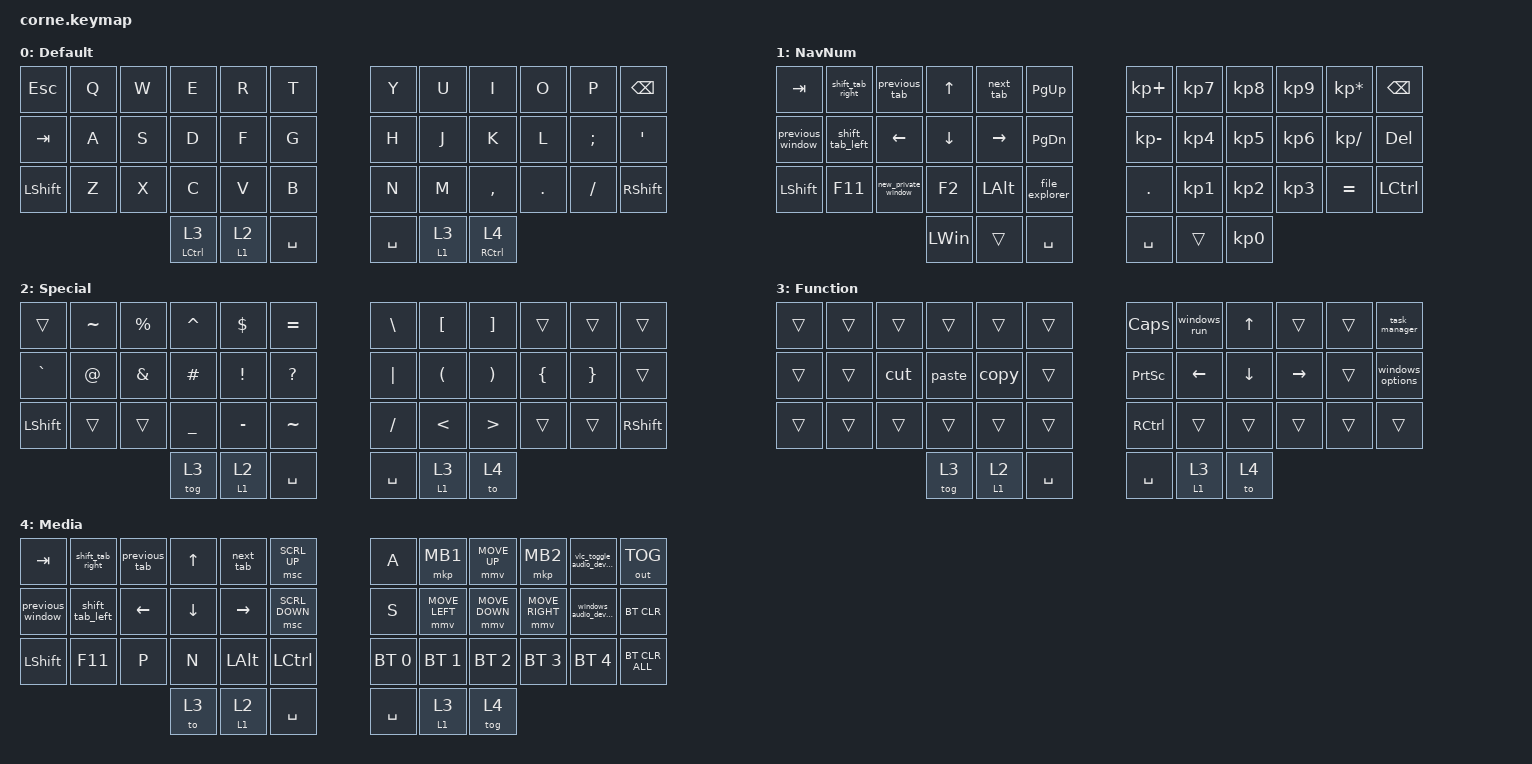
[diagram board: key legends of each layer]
/*
 * Copyright (c) 2020 The ZMK Contributors
 *
 * SPDX-License-Identifier: MIT
 */

#include <behaviors.dtsi>
#include <dt-bindings/zmk/bt.h>
#include <dt-bindings/zmk/keys.h>
#include <dt-bindings/zmk/outputs.h>
#include <dt-bindings/zmk/pointing.h>

/ {
    macros {
        next_tab: next_tab {
            compatible = "zmk,behavior-macro";
            #binding-cells = <0>;
            bindings =
                <&macro_press>,
                <&kp LEFT_CONTROL>,
                <&macro_tap>,
                <&kp TAB>,
                <&macro_release>,
                <&kp LEFT_CONTROL>;

            label = "NEXT_TAB";
        };

        previous_tab: previous_tab {
            compatible = "zmk,behavior-macro";
            #binding-cells = <0>;
            bindings =
                <&macro_press>,
                <&kp LEFT_CONTROL &kp LEFT_SHIFT>,
                <&macro_tap>,
                <&kp TAB>,
                <&macro_release>,
                <&kp LEFT_CONTROL &kp LEFT_SHIFT>;

            label = "PREVIOUS_TAB";
        };

        next_window: next_window {
            compatible = "zmk,behavior-macro";
            #binding-cells = <0>;
            bindings =
                <&macro_press>,
                <&kp LEFT_ALT>,
                <&macro_tap>,
                <&kp TAB>,
                <&macro_release>,
                <&kp LEFT_ALT>;

            label = "NEXT_WINDOW";
        };

        previous_window: previous_window {
            compatible = "zmk,behavior-macro";
            #binding-cells = <0>;
            bindings =
                <&macro_press>,
                <&kp LEFT_SHIFT>,
                <&macro_tap>,
                <&kp TAB>,
                <&macro_release>,
                <&kp LEFT_SHIFT>;

            label = "PREVIOUS_WINDOW";
        };

        windows_options: windows_options {
            compatible = "zmk,behavior-macro";
            #binding-cells = <0>;
            bindings =
                <&macro_press>,
                <&kp LEFT_WIN>,
                <&macro_tap>,
                <&kp X>,
                <&macro_release>,
                <&kp LEFT_WIN>;

            label = "WINDOWS_OPTIONS";
        };

        task_manager: task_manager {
            compatible = "zmk,behavior-macro";
            #binding-cells = <0>;
            bindings =
                <&macro_press>,
                <&kp LEFT_CONTROL &kp LEFT_ALT>,
                <&macro_press>,
                <&kp DEL>,
                <&macro_release>,
                <&kp LEFT_CONTROL &kp LEFT_ALT>;

            label = "TASK_MANAGER";
        };

        shift_tab_right: shift_tab_right {
            compatible = "zmk,behavior-macro";
            #binding-cells = <0>;
            bindings =
                <&macro_press>,
                <&kp LEFT_CONTROL &kp LEFT_SHIFT>,
                <&macro_tap>,
                <&kp PAGE_DOWN>,
                <&macro_release>,
                <&kp LEFT_CONTROL &kp LEFT_SHIFT>;

            label = "SHIFT_TAB_RIGHT";
        };

        shift_tab_left: shift_tab_left {
            compatible = "zmk,behavior-macro";
            #binding-cells = <0>;
            bindings =
                <&macro_press>,
                <&kp LEFT_CONTROL &kp LEFT_SHIFT>,
                <&macro_tap>,
                <&kp PAGE_UP>,
                <&macro_release>,
                <&kp LEFT_CONTROL &kp LEFT_SHIFT>;

            label = "SHIFT_TAB_LEFT";
        };

        vlc_playlist: vlc_playlist {
            compatible = "zmk,behavior-macro";
            #binding-cells = <0>;
            bindings =
                <&macro_press>,
                <&kp LEFT_CONTROL>,
                <&macro_tap>,
                <&kp L>,
                <&macro_release>,
                <&kp LEFT_CONTROL>;

            label = "VLC_PLAYLIST";
        };

        vlc_toggle_audio_device: vlc_toggle_audio_device {
            compatible = "zmk,behavior-macro";
            #binding-cells = <0>;
            bindings =
                <&macro_press>,
                <&kp LEFT_SHIFT>,
                <&macro_tap>,
                <&kp A>,
                <&macro_release>,
                <&kp LEFT_SHIFT>;

            label = "VLC_TOGGLE_AUDIO_DEVICE";
        };

        windows_audio_device: windows_audio_device {
            compatible = "zmk,behavior-macro";
            #binding-cells = <0>;
            bindings =
                <&macro_press>,
                <&kp LEFT_WIN &kp LEFT_CONTROL>,
                <&macro_tap>,
                <&kp V>,
                <&macro_release>,
                <&kp LEFT_WIN &kp LEFT_CONTROL>;

            label = "WINDOWS_AUDIO_DEVICE";
        };

        tab_1: tab_1 {
            compatible = "zmk,behavior-macro";
            #binding-cells = <0>;
            bindings =
                <&macro_press>,
                <&kp LEFT_CONTROL>,
                <&macro_tap>,
                <&kp KP_NUMBER_1>,
                <&macro_release>,
                <&kp LEFT_CONTROL>;

            label = "TAB_1";
        };

        tab_2: tab_2 {
            compatible = "zmk,behavior-macro";
            #binding-cells = <0>;
            bindings =
                <&macro_press>,
                <&kp LEFT_CONTROL>,
                <&macro_tap>,
                <&kp KP_NUMBER_2>,
                <&macro_release>,
                <&kp LEFT_CONTROL>;

            label = "TAB_2";
        };

        tab_3: tab_3 {
            compatible = "zmk,behavior-macro";
            #binding-cells = <0>;
            bindings =
                <&macro_press>,
                <&kp LEFT_CONTROL>,
                <&macro_tap>,
                <&kp KP_NUMBER_3>,
                <&macro_release>,
                <&kp LEFT_CONTROL>;

            label = "TAB_3";
        };

        tab_4: tab_4 {
            compatible = "zmk,behavior-macro";
            #binding-cells = <0>;
            bindings =
                <&macro_press>,
                <&kp LEFT_CONTROL>,
                <&macro_tap>,
                <&kp KP_NUMBER_4>,
                <&macro_release>,
                <&kp LEFT_CONTROL>;

            label = "TAB_4";
        };

        tab_5: tab_5 {
            compatible = "zmk,behavior-macro";
            #binding-cells = <0>;
            bindings =
                <&macro_press>,
                <&kp LEFT_CONTROL>,
                <&macro_tap>,
                <&kp KP_NUMBER_5>,
                <&macro_release>,
                <&kp LEFT_CONTROL>;

            label = "TAB_5";
        };

        tab_6: tab_6 {
            compatible = "zmk,behavior-macro";
            #binding-cells = <0>;
            bindings =
                <&macro_press>,
                <&kp LEFT_CONTROL>,
                <&macro_tap>,
                <&kp KP_NUMBER_6>,
                <&macro_release>,
                <&kp LEFT_CONTROL>;

            label = "TAB_6";
        };

        tab_7: tab_7 {
            compatible = "zmk,behavior-macro";
            #binding-cells = <0>;
            bindings =
                <&macro_press>,
                <&kp LEFT_CONTROL>,
                <&macro_tap>,
                <&kp KP_NUMBER_7>,
                <&macro_release>,
                <&kp LEFT_CONTROL>;

            label = "TAB_7";
        };

        tab_8: tab_8 {
            compatible = "zmk,behavior-macro";
            #binding-cells = <0>;
            bindings =
                <&macro_press>,
                <&kp LEFT_CONTROL>,
                <&macro_tap>,
                <&kp KP_NUMBER_8>,
                <&macro_release>,
                <&kp LEFT_CONTROL>;

            label = "TAB_8";
        };

        tab_9: tab_9 {
            compatible = "zmk,behavior-macro";
            #binding-cells = <0>;
            bindings =
                <&macro_press>,
                <&kp LEFT_CONTROL>,
                <&macro_tap>,
                <&kp KP_NUMBER_9>,
                <&macro_release>,
                <&kp LEFT_CONTROL>;

            label = "TAB_9";
        };

        tab_end: tab_end {
            compatible = "zmk,behavior-macro";
            #binding-cells = <0>;
            bindings =
                <&macro_press>,
                <&kp LEFT_CONTROL>,
                <&macro_tap>,
                <&kp N0>,
                <&macro_release>,
                <&kp LEFT_CONTROL>;

            label = "TAB_END";
        };

        file_explorer: file_explorer {
            compatible = "zmk,behavior-macro";
            #binding-cells = <0>;
            bindings =
                <&macro_press>,
                <&kp LEFT_WIN>,
                <&macro_tap>,
                <&kp E>,
                <&macro_release>,
                <&kp LEFT_WIN>;

            label = "FILE_EXPLORER";
        };

        new_window: new_window {
            compatible = "zmk,behavior-macro";
            #binding-cells = <0>;
            bindings =
                <&macro_press>,
                <&kp LEFT_CONTROL>,
                <&macro_tap>,
                <&kp N>,
                <&macro_release>,
                <&kp LEFT_CONTROL>;

            label = "NEW_WINDOW";
        };

        new_private_window: new_private_window {
            compatible = "zmk,behavior-macro";
            #binding-cells = <0>;
            bindings =
                <&macro_press>,
                <&kp LEFT_CONTROL &kp LEFT_SHIFT>,
                <&macro_tap>,
                <&kp N>,
                <&macro_release>,
                <&kp LEFT_CONTROL &kp LEFT_SHIFT>;

            label = "NEW_PRIVATE_WINDOW";
        };

        find: find {
            compatible = "zmk,behavior-macro";
            #binding-cells = <0>;
            bindings =
                <&macro_press>,
                <&kp LEFT_CONTROL>,
                <&macro_tap>,
                <&kp F>,
                <&macro_release>,
                <&kp LEFT_CONTROL>;

            label = "FIND";
        };

        select_all: select_all {
            compatible = "zmk,behavior-macro";
            #binding-cells = <0>;
            bindings =
                <&macro_press>,
                <&kp LEFT_CONTROL>,
                <&macro_tap>,
                <&kp A>,
                <&macro_release>,
                <&kp LEFT_CONTROL>;

            label = "SELECT_ALL";
        };

        save: save {
            compatible = "zmk,behavior-macro";
            #binding-cells = <0>;
            bindings =
                <&macro_press>,
                <&kp LEFT_CONTROL>,
                <&macro_tap>,
                <&kp S>,
                <&macro_release>,
                <&kp LEFT_CONTROL>;

            label = "SAVE";
        };

        save_as: save_as {
            compatible = "zmk,behavior-macro";
            #binding-cells = <0>;
            bindings =
                <&macro_press>,
                <&kp LEFT_CONTROL &kp LEFT_SHIFT>,
                <&macro_tap>,
                <&kp S>,
                <&macro_release>,
                <&kp LEFT_CONTROL &kp LEFT_SHIFT>;

            label = "SAVE_AS";
        };

        undo: undo {
            compatible = "zmk,behavior-macro";
            #binding-cells = <0>;
            bindings =
                <&macro_press>,
                <&kp LEFT_CONTROL>,
                <&macro_tap>,
                <&kp Z>,
                <&macro_release>,
                <&kp LEFT_CONTROL>;

            label = "UNDO";
        };

        open: open {
            compatible = "zmk,behavior-macro";
            #binding-cells = <0>;
            bindings =
                <&macro_press>,
                <&kp LEFT_CONTROL>,
                <&macro_tap>,
                <&kp O>,
                <&macro_release>,
                <&kp LEFT_CONTROL>;

            label = "OPEN";
        };

        copy: copy {
            compatible = "zmk,behavior-macro";
            #binding-cells = <0>;
            bindings =
                <&macro_press>,
                <&kp LEFT_CONTROL>,
                <&macro_tap>,
                <&kp C>,
                <&macro_release>,
                <&kp LEFT_CONTROL>;

            label = "COPY";
        };

        paste: paste {
            compatible = "zmk,behavior-macro";
            #binding-cells = <0>;
            bindings =
                <&macro_press>,
                <&kp LEFT_CONTROL>,
                <&macro_tap>,
                <&kp LS(V)>,
                <&macro_release>,
                <&kp LEFT_CONTROL>;

            label = "PASTE";
        };

        cut: cut {
            compatible = "zmk,behavior-macro";
            #binding-cells = <0>;
            bindings =
                <&macro_press>,
                <&kp LEFT_CONTROL>,
                <&macro_tap>,
                <&kp X>,
                <&macro_release>,
                <&kp LEFT_CONTROL>;

            label = "CUT";
        };

        redo: redo {
            compatible = "zmk,behavior-macro";
            #binding-cells = <0>;
            bindings =
                <&macro_press>,
                <&kp LEFT_CONTROL>,
                <&macro_tap>,
                <&kp Y>,
                <&macro_release>,
                <&kp LEFT_CONTROL>;

            label = "REDO";
        };

        reload: reload {
            compatible = "zmk,behavior-macro";
            #binding-cells = <0>;
            bindings =
                <&macro_press>,
                <&kp LEFT_CONTROL>,
                <&macro_tap>,
                <&kp R>,
                <&macro_release>,
                <&kp LEFT_CONTROL>;

            label = "RELOAD";
        };

        windows_run: windows_run {
            compatible = "zmk,behavior-macro";
            #binding-cells = <0>;
            bindings =
                <&macro_press>,
                <&kp LEFT_WIN>,
                <&macro_tap>,
                <&kp X>,
                <&macro_release>,
                <&kp LEFT_WIN>;

            label = "WINDOWS_RUN";
        };
    };

    combos {
        compatible = "zmk,combos";

        space_combo_enter {
            bindings = <&kp ENTER>;
            key-positions = <38 39>;
        };

        control_space_enter {
            bindings = <&kp ENTER>;
            key-positions = <38 24>;
        };

        control_space_right_combo {
            bindings = <&kp ENTER>;
            key-positions = <39 35>;
        };
    };

    behaviors {
        hold_tap_layer: hold_tap_layer {
            compatible = "zmk,behavior-hold-tap";
            label = "HOLD_TAP_LAYER";
            #binding-cells = <2>;
            tapping-term-ms = <100>;
            hold-trigger-key-positions = <37 40>;
            bindings = <&mo>, <&tog>;

            flavor = "hold-preferred";
        };

        hold_tap_direct: hold_tap_direct {
            compatible = "zmk,behavior-hold-tap";
            label = "HOLD_TAP_DIRECT";
            #binding-cells = <2>;
            tapping-term-ms = <100>;
            hold-trigger-key-positions = <37 40>;
            bindings = <&mo>, <&to>;

            flavor = "hold-preferred";
        };

        hold_key_tap_layer: hold_key_tap_layer {
            compatible = "zmk,behavior-hold-tap";
            label = "HOLD_KEY_TAP_LAYER";
            bindings = <&kp>, <&to>;

            #binding-cells = <2>;
            tapping-term-ms = <100>;
            hold-trigger-key-positions = <36>;
            flavor = "hold-preferred";
        };
    };

    keymap {
        compatible = "zmk,keymap";

        default_layer {
            // -----------------------------------------------------------------------------------------
            // |  TAB |  Q  |  W  |  E  |  R  |  T  |   |  Y  |  U   |  I  |  O  |  P  | BKSP |
            // | CTRL |  A  |  S  |  D  |  F  |  G  |   |  H  |  J   |  K  |  L  |  ;  |  '   |
            // | SHFT |  Z  |  X  |  C  |  V  |  B  |   |  N  |  M   |  ,  |  .  |  /  | ESC  |
            //                    | GUI | LWR | SPC |   | ENT | RSE  | ALT |

            display-name = "Default";
            bindings = <
&kp ESC    &kp Q  &kp W  &kp E                               &kp R                &kp T        &kp Y      &kp U                &kp I                                &kp O    &kp P     &kp BSPC
&kp TAB    &kp A  &kp S  &kp D                               &kp F                &kp G        &kp H      &kp J                &kp K                                &kp L    &kp SEMI  &kp SQT
&kp LSHFT  &kp Z  &kp X  &kp C                               &kp V                &kp B        &kp N      &kp M                &kp COMMA                            &kp DOT  &kp FSLH  &kp RIGHT_SHIFT
                         &hold_key_tap_layer LEFT_CONTROL 3  &hold_tap_layer 1 2  &kp SPACE    &kp SPACE  &hold_tap_layer 1 3  &hold_key_tap_layer RIGHT_CONTROL 4
            >;
        };

        nav_num_layer {
            // -----------------------------------------------------------------------------------------
            // |  TAB |  1  |  2  |  3  |  4  |  5  |   |  6  |  7  |  8  |  9  |  0  | BKSP |
            // | BTCLR| BT1 | BT2 | BT3 | BT4 | BT5 |   | LFT | DWN |  UP | RGT |     |      |
            // | SHFT |     |     |     |     |     |   |     |     |     |     |     |      |
            //                    | GUI |     | SPC |   | ENT |     | ALT |

            display-name = "NavNum";
            bindings = <
&kp TAB           &shift_tab_right  &previous_tab        &kp UP_ARROW  &next_tab     &kp PAGE_UP       &kp KP_PLUS   &kp KP_N7  &kp KP_N8        &kp KP_N9  &kp KP_MULTIPLY  &kp BACKSPACE
&previous_window  &shift_tab_left   &kp LEFT             &kp DOWN      &kp RIGHT     &kp PAGE_DOWN     &kp KP_MINUS  &kp KP_N4  &kp KP_N5        &kp KP_N6  &kp KP_DIVIDE    &kp DELETE
&kp LEFT_SHIFT    &kp F11           &new_private_window  &kp F2        &kp LEFT_ALT  &file_explorer    &kp PERIOD    &kp KP_N1  &kp KP_N2        &kp KP_N3  &kp EQUAL        &kp LEFT_CONTROL
                                                         &kp LEFT_WIN  &trans        &kp SPACE         &kp SPACE     &trans     &kp KP_NUMBER_0
            >;
        };

        spec_char_layer {
            display-name = "Special";
            bindings = <
&trans     &kp TILDE    &kp PERCENT    &kp CARET       &kp DLLR             &kp EQUAL       &kp BACKSLASH  &kp LEFT_BRACKET      &kp RIGHT_BRACKET      &trans          &trans           &trans
&kp GRAVE  &kp AT_SIGN  &kp AMPERSAND  &kp HASH        &kp EXCLAMATION      &kp QUESTION    &kp PIPE       &kp LEFT_PARENTHESIS  &kp RIGHT_PARENTHESIS  &kp LEFT_BRACE  &kp RIGHT_BRACE  &trans
&kp LSHFT  &trans       &trans         &kp UNDERSCORE  &kp MINUS            &kp TILDE       &kp SLASH      &kp LESS_THAN         &kp GREATER_THAN       &trans          &trans           &kp RIGHT_SHIFT
                                       &tog 3          &hold_tap_layer 1 2  &kp SPACE       &kp SPACE      &hold_tap_direct 1 3  &to 4
            >;
        };

        function_layer {
            display-name = "Function";
            bindings = <
&trans  &trans  &trans  &trans  &trans                &trans       &kp CAPSLOCK       &windows_run         &kp UP_ARROW  &trans     &trans  &task_manager
&trans  &trans  &cut    &paste  &copy                 &trans       &kp PRINTSCREEN    &kp LEFT             &kp DOWN      &kp RIGHT  &trans  &windows_options
&trans  &trans  &trans  &trans  &trans                &trans       &kp RIGHT_CONTROL  &trans               &trans        &trans     &trans  &trans
                        &tog 3  &hold_tap_direct 1 2  &kp SPACE    &kp SPACE          &hold_tap_layer 1 3  &to 4
            >;
        };

        media_layer {
            display-name = "Media";
            bindings = <
&kp TAB           &shift_tab_right  &previous_tab  &kp UP_ARROW  &next_tab             &msc SCRL_UP        &kp A         &mkp MB1              &mmv MOVE_UP    &mkp MB2         &vlc_toggle_audio_device  &out OUT_TOG
&previous_window  &shift_tab_left   &kp LEFT       &kp DOWN      &kp RIGHT             &msc SCRL_DOWN      &kp S         &mmv MOVE_LEFT        &mmv MOVE_DOWN  &mmv MOVE_RIGHT  &windows_audio_device     &bt BT_CLR
&kp LEFT_SHIFT    &kp F11           &kp P          &kp N         &kp LEFT_ALT          &kp LEFT_CONTROL    &bt BT_SEL 0  &bt BT_SEL 1          &bt BT_SEL 2    &bt BT_SEL 3     &bt BT_SEL 4              &bt BT_CLR_ALL
                                                   &to 3         &hold_tap_direct 1 2  &kp SPACE           &kp SPACE     &hold_tap_direct 1 3  &tog 4
            >;
        };
    };
};
